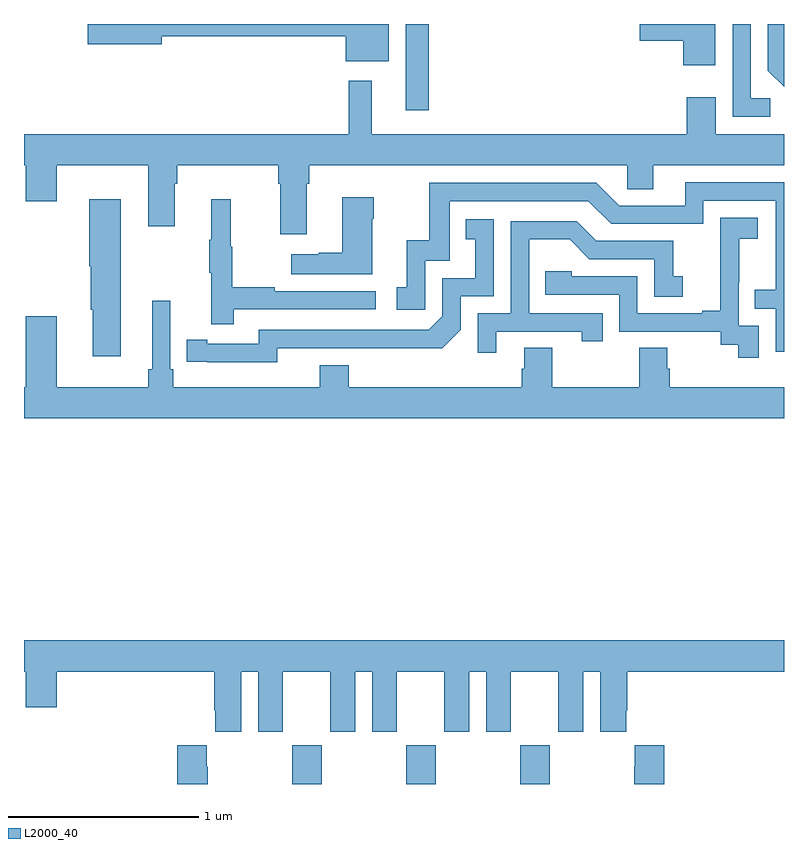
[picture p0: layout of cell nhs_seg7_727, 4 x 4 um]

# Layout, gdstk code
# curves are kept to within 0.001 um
import gdstk
lib = gdstk.Library(unit=1e-6, precision=1e-09)
def R(c, l, rs):  # rectangles x0, y0, x1, y1
    for r in rs: c.add(gdstk.rectangle(r[:2], r[2:], *l))
def A(c, l, x, y, w, h, nx, ny, dx, dy):  # array of equal rectangles
    R(c, l, [(x+i*dx, y+j*dy, x+i*dx+w, y+j*dy+h) for i in range(nx) for j in range(ny)])
def P(c, l, *ps):  # polygons
    for p in ps: c.add(gdstk.Polygon(p, *l))
L2000_40 = (2000, 40)

nhs_seg7_727 = lib.new_cell('nhs_seg7_727')
A(nhs_seg7_727, L2000_40, 166.411, 1024, 0.155, 0.204, 3, 1, 0.6, 0)
R(nhs_seg7_727, L2000_40, [(167.009,1027.545,167.131,1028)])
P(nhs_seg7_727, L2000_40, [(168.928,1027.608),(168.825,1027.608),(168.825,1028),(168.729,1028),(168.729,1027.512),(168.928,1027.512)],
  [(168.637,1028),(168.24,1028),(168.24,1027.913),(168.47,1027.913),(168.47,1027.782),(168.637,1027.782)],
  [(166.921,1028),(165.336,1028),(165.336,1027.894),(165.724,1027.894),(165.724,1027.936),(166.694,1027.936),(166.694,1027.805),(166.921,1027.805)],
  [(169,1028),(168.915,1028),(168.915,1027.754),(169,1027.669)],
  [(166.489,1027.16),(166.502,1027.16),(166.502,1027.256),(168.174,1027.256),(168.174,1027.129),(168.313,1027.129),(168.313,1027.256),(169,1027.256),(169,1027.42),(168.64,1027.42),(168.64,1027.615),(168.488,1027.615),(168.488,1027.42),(166.831,1027.42),(166.831,1027.702),(166.71,1027.702),(166.71,1027.42),(165,1027.42),(165,1027.256),(165.008,1027.256),(165.008,1027.068),(165.172,1027.068),(165.172,1027.256),(165.653,1027.256),(165.653,1026.936),(165.793,1026.936),(165.793,1027.16),(165.806,1027.16),(165.806,1027.256),(166.337,1027.256),(166.337,1027.16),(166.349,1027.16),(166.349,1026.894),(166.489,1026.894)],
  [(169,1027.167),(168.479,1027.167),(168.479,1027.044),(168.132,1027.044),(168.012,1027.164),(167.133,1027.164),(167.133,1026.862),(167.015,1026.862),(167.015,1026.615),(166.962,1026.615),(166.962,1026.495),(167.112,1026.495),(167.112,1026.753),(167.241,1026.753),(167.241,1027.068),(167.97,1027.068),(168.09,1026.948),(168.576,1026.948),(168.576,1027.071),(168.957,1027.071),(168.957,1026.602),(168.847,1026.602),(168.847,1026.501),(168.957,1026.501),(168.957,1026.276),(169,1026.276)],
  [(166.834,1026.974),(166.842,1026.974),(166.842,1027.087),(166.676,1027.087),(166.676,1026.797),(166.55,1026.797),(166.55,1026.787),(166.407,1026.787),(166.407,1026.683),(166.834,1026.683)],
  [(166.103,1026.498),(166.852,1026.498),(166.852,1026.594),(166.319,1026.594),(166.319,1026.614),(166.096,1026.614),(166.096,1026.828),(166.088,1026.828),(166.088,1027.078),(165.986,1027.078),(165.986,1026.865),(165.975,1026.865),(165.975,1026.691),(165.986,1026.691),(165.986,1026.42),(166.103,1026.42)],
  [(165.508,1027.078),(165.344,1027.078),(165.344,1026.726),(165.35,1026.726),(165.35,1026.495),(165.362,1026.495),(165.362,1026.252),(165.508,1026.252)],
  [(168.867,1026.411),(168.762,1026.411),(168.762,1026.641),(168.764,1026.641),(168.764,1026.869),(168.862,1026.869),(168.862,1026.979),(168.664,1026.979),(168.664,1026.773),(168.665,1026.773),(168.665,1026.49),(168.569,1026.49),(168.569,1026.477),(168.228,1026.477),(168.228,1026.672),(167.883,1026.672),(167.883,1026.699),(167.743,1026.699),(167.743,1026.576),(168.132,1026.576),(168.132,1026.381),(168.666,1026.381),(168.666,1026.313),(168.759,1026.313),(168.759,1026.243),(168.867,1026.243)],
  [(166.332,1026.294),(167.2,1026.293),(167.298,1026.39),(167.298,1026.567),(167.472,1026.567),(167.472,1026.973),(167.326,1026.973),(167.326,1026.867),(167.375,1026.867),(167.375,1026.663),(167.202,1026.663),(167.202,1026.462),(167.13,1026.39),(166.236,1026.39),(166.236,1026.318),(165.964,1026.318),(165.964,1026.338),(165.856,1026.338),(165.856,1026.222),(166.332,1026.221)],
  [(167.485,1026.381),(167.936,1026.381),(167.936,1026.33),(168.047,1026.33),(168.047,1026.477),(167.658,1026.477),(167.658,1026.866),(167.872,1026.866),(167.976,1026.762),(168.318,1026.762),(168.318,1026.564),(168.466,1026.564),(168.466,1026.673),(168.417,1026.673),(168.417,1026.858),(168.013,1026.858),(167.908,1026.963),(167.562,1026.963),(167.562,1026.477),(167.388,1026.477),(167.388,1026.27),(167.485,1026.27)],
  [(169,1026.088),(168.398,1026.088),(168.398,1026.186),(168.385,1026.186),(168.385,1026.296),(168.238,1026.296),(168.238,1026.088),(167.781,1026.088),(167.781,1026.296),(167.633,1026.296),(167.633,1026.186),(167.621,1026.186),(167.621,1026.088),(166.709,1026.088),(166.709,1026.205),(166.556,1026.205),(166.556,1026.088),(165.785,1026.088),(165.785,1026.184),(165.771,1026.184),(165.771,1026.544),(165.674,1026.544),(165.674,1026.184),(165.655,1026.184),(165.655,1026.088),(165.172,1026.088),(165.172,1026.463),(165.008,1026.463),(165.008,1026.088),(165,1026.088),(165,1025.924),(169,1025.924)],
  [(165,1024.592),(165.008,1024.592),(165.008,1024.404),(165.172,1024.404),(165.172,1024.592),(166.001,1024.592),(166.001,1024.387),(166.007,1024.387),(166.007,1024.275),(166.144,1024.275),(166.144,1024.592),(166.232,1024.592),(166.232,1024.275),(166.363,1024.275),(166.363,1024.592),(166.613,1024.592),(166.613,1024.275),(166.744,1024.275),(166.744,1024.592),(166.832,1024.592),(166.832,1024.275),(166.963,1024.275),(166.963,1024.592),(167.213,1024.592),(167.213,1024.275),(167.344,1024.275),(167.344,1024.592),(167.432,1024.592),(167.432,1024.275),(167.563,1024.275),(167.563,1024.592),(167.813,1024.592),(167.813,1024.275),(167.944,1024.275),(167.944,1024.592),(168.032,1024.592),(168.032,1024.275),(168.169,1024.275),(168.169,1024.387),(168.176,1024.387),(168.176,1024.592),(169,1024.592),(169,1024.756),(165,1024.756)],
  [(168.371,1024.204),(168.215,1024.204),(168.215,1024.091),(168.211,1024.091),(168.211,1024),(168.371,1024)],
  [(165.966,1024.091),(165.961,1024.091),(165.961,1024.204),(165.806,1024.204),(165.806,1024),(165.966,1024)])

lib.write_gds('nhs_seg7_727.gds')
